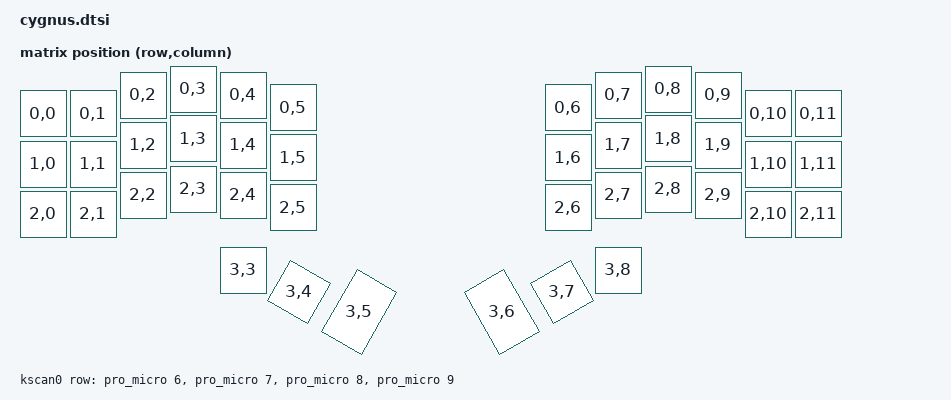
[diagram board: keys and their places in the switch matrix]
#include <dt-bindings/zmk/matrix_transform.h>
#include <physical_layouts.dtsi>
/ {

	chosen {
		zmk,physical-layout = &cygnus;
	};

	default_transform: keymap_transform_0 {
		compatible = "zmk,matrix-transform";
		columns = <12>;
		rows = <4>;
		map = <
	 RC(0,0) RC(0,1) RC(0,2) RC(0,3) RC(0,4) RC(0,5)    RC(0,6) RC(0,7) RC(0,8) RC(0,9) RC(0,10) RC(0,11)
	 RC(1,0) RC(1,1) RC(1,2) RC(1,3) RC(1,4) RC(1,5)    RC(1,6) RC(1,7) RC(1,8) RC(1,9) RC(1,10) RC(1,11)
	 RC(2,0) RC(2,1) RC(2,2) RC(2,3) RC(2,4) RC(2,5)    RC(2,6) RC(2,7) RC(2,8) RC(2,9) RC(2,10) RC(2,11)
					         RC(3,3) RC(3,4) RC(3,5)    RC(3,6) RC(3,7)RC(3,8)
		>;
	};

	 kscan0: kscan { 
        compatible = "zmk,kscan-gpio-matrix";
        diode-direction = "col2row";
        wakeup-source;
		row-gpios
			= <&pro_micro 6 (GPIO_ACTIVE_HIGH | GPIO_PULL_DOWN)>
			, <&pro_micro 7 (GPIO_ACTIVE_HIGH | GPIO_PULL_DOWN)>
			, <&pro_micro 8  (GPIO_ACTIVE_HIGH | GPIO_PULL_DOWN)>
			, <&pro_micro 9  (GPIO_ACTIVE_HIGH | GPIO_PULL_DOWN)>
			;
    };

	cygnus: cygnus {
		compatible = "zmk,physical-layout";
		display-name = "matrix layout";
		kscan = <&kscan0>;
		transform = <&default_transform>;

        keys  //                     w   h    x    y     rot   rx   ry
            = <&key_physical_attrs 100 100    0   49       0    0    0>
            , <&key_physical_attrs 100 100  100   49       0    0    0>
            , <&key_physical_attrs 100 100  200   12       0    0    0>
            , <&key_physical_attrs 100 100  300    0       0    0    0>
            , <&key_physical_attrs 100 100  400   12       0    0    0>
            , <&key_physical_attrs 100 100  500   37       0    0    0>
            , <&key_physical_attrs 100 100 1050   37       0    0    0>
            , <&key_physical_attrs 100 100 1150   12       0    0    0>
            , <&key_physical_attrs 100 100 1250    0       0    0    0>
            , <&key_physical_attrs 100 100 1350   12       0    0    0>
            , <&key_physical_attrs 100 100 1450   49       0    0    0>
            , <&key_physical_attrs 100 100 1550   49       0    0    0>
            , <&key_physical_attrs 100 100    0  150       0    0    0>
            , <&key_physical_attrs 100 100  100  150       0    0    0>
            , <&key_physical_attrs 100 100  200  112       0    0    0>
            , <&key_physical_attrs 100 100  300   99       0    0    0>
            , <&key_physical_attrs 100 100  400  112       0    0    0>
            , <&key_physical_attrs 100 100  500  137       0    0    0>
            , <&key_physical_attrs 100 100 1050  137       0    0    0>
            , <&key_physical_attrs 100 100 1150  112       0    0    0>
            , <&key_physical_attrs 100 100 1250   99       0    0    0>
            , <&key_physical_attrs 100 100 1350  112       0    0    0>
            , <&key_physical_attrs 100 100 1450  150       0    0    0>
            , <&key_physical_attrs 100 100 1550  150       0    0    0>
            , <&key_physical_attrs 100 100    0  250       0    0    0>
            , <&key_physical_attrs 100 100  100  250       0    0    0>
            , <&key_physical_attrs 100 100  200  212       0    0    0>
            , <&key_physical_attrs 100 100  300  200       0    0    0>
            , <&key_physical_attrs 100 100  400  212       0    0    0>
            , <&key_physical_attrs 100 100  500  237       0    0    0>
            , <&key_physical_attrs 100 100 1050  237       0    0    0>
            , <&key_physical_attrs 100 100 1150  212       0    0    0>
            , <&key_physical_attrs 100 100 1250  200       0    0    0>
            , <&key_physical_attrs 100 100 1350  212       0    0    0>
            , <&key_physical_attrs 100 100 1450  250       0    0    0>
            , <&key_physical_attrs 100 100 1550  250       0    0    0>
            , <&key_physical_attrs 100 100  400  362       0    0    0>
            , <&key_physical_attrs 100 100  550  362    3000  500  362>
            , <&key_physical_attrs 100 150  675  312    3000  500  362>
            , <&key_physical_attrs 100 150  875  312 (-3000) 1150  362>
            , <&key_physical_attrs 100 100 1000  362 (-3000) 1150  362>
            , <&key_physical_attrs 100 100 1150  362       0    0    0>
            ;
    };

};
